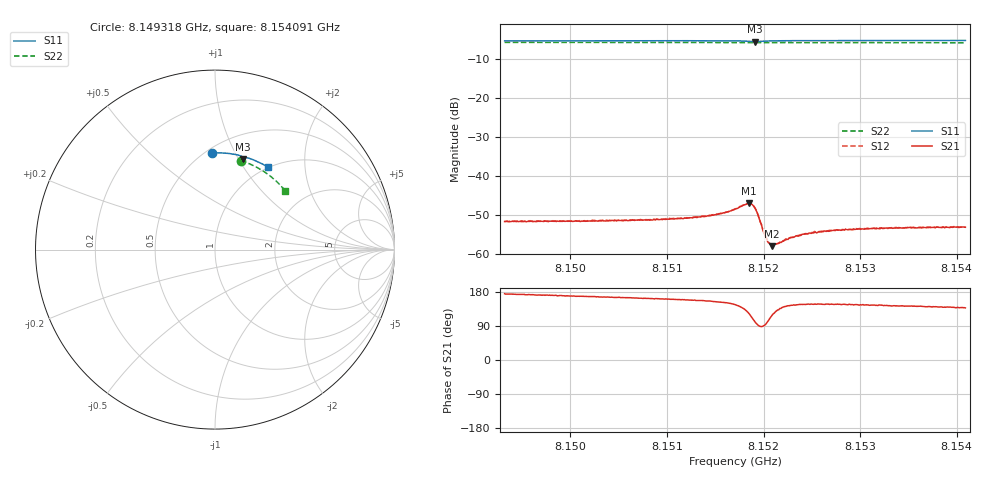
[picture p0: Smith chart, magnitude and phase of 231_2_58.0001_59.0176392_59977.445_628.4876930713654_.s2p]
#  HZ  S  RI  R  50.00
! Rohde & Schwarz Vector Network Analyzer
! Rohde-Schwarz,ZNB20-2Port,1311601062101988,3.16
! Created: UTC 3/21/2024, 1:00:40 AM
! freq[Hz]  re:S11  im:S11  re:S21  im:S21  re:S12  im:S12  re:S22  im:S22
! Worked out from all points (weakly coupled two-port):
!   401 points, 8.149318 GHz to 8.154091 GHz, reference 50 ohm
!   highest |S21| = -46.98 dB at 8.151848 GHz (marker M1); lowest = -57.9 dB at 8.152086 GHz (marker M2)
!   lowest |S11| = -5.6 dB at 8.151907 GHz (marker M3), VSWR 3.24, Z = 37.3 + j52.2 ohm
!   |S11| at or under -10 dB: nowhere
!   |S22| runs from -5.8 to -5.7 dB; largest |S21 - S12| = 0.00011
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8.1493183e9  -0.0175 0.5386  -0.00261 0.000232  -0.00262 0.000322  0.1436 0.4954
8.1501176e9  0.0384 0.5388  -0.00261 0.000548  -0.00263 0.000593  0.1924 0.4778
8.150917e9  0.0942 0.5333  -0.00264 0.000876  -0.00266 0.000925  0.2389 0.4554
8.1514061e9  0.1287 0.5264  -0.0028 0.00126  -0.00282 0.00131  0.2659 0.4392
8.151609e9  0.1439 0.5218  -0.00302 0.00166  -0.003 0.00171  0.277 0.4321
8.1517044e9  0.1515 0.5183  -0.00314 0.00212  -0.00312 0.00218  0.282 0.4286
8.1518118e9  0.1587 0.511  -0.00291 0.00321  -0.0029 0.0033  0.2876 0.4245
8.1518476e9  0.1593 0.5074  -0.00246 0.00374  -0.00239 0.00382  0.2893 0.4231
8.1518834e9  0.1577 0.5046  -0.00154 0.00404  -0.0015 0.00413  0.291 0.4216
8.1519072e9  0.1559 0.5042  -0.000825 0.00389  -0.00078 0.00392  0.2922 0.4207
8.151943e9  0.1541 0.5064  -0.000103 0.00318  -6.31e-05 0.0032  0.2938 0.4196
8.1520027e9  0.1564 0.5112  -1.59e-05 0.0019  4.79e-05 0.0019  0.297 0.4175
8.1520265e9  0.1585 0.5124  -0.000159 0.00164  -0.000156 0.00161  0.2983 0.4168
8.1520623e9  0.1617 0.5133  -0.000443 0.0013  -0.000423 0.00134  0.3001 0.4155
8.1520862e9  0.164 0.5136  -0.00059 0.00113  -0.00057 0.00117  0.3014 0.4145
8.152122e9  0.1672 0.5137  -0.000809 0.00107  -0.000766 0.0011  0.3034 0.4131
8.1522532e9  0.1781 0.5121  -0.00124 0.000931  -0.00125 0.000981  0.3101 0.4078
8.1523129e9  0.1825 0.5109  -0.00137 0.000938  -0.00135 0.00095  0.3131 0.4057
8.1525038e9  0.1963 0.5067  -0.00158 0.00102  -0.00159 0.00105  0.3225 0.3979
8.1527543e9  0.2131 0.5005  -0.00172 0.00112  -0.00172 0.00114  0.3345 0.3874
8.1533031e9  0.2483 0.4852  -0.00175 0.00129  -0.00176 0.00129  0.3599 0.363
8.1540906e9  0.2963 0.4587  -0.00164 0.0015  -0.00166 0.00151  0.3927 0.3254
